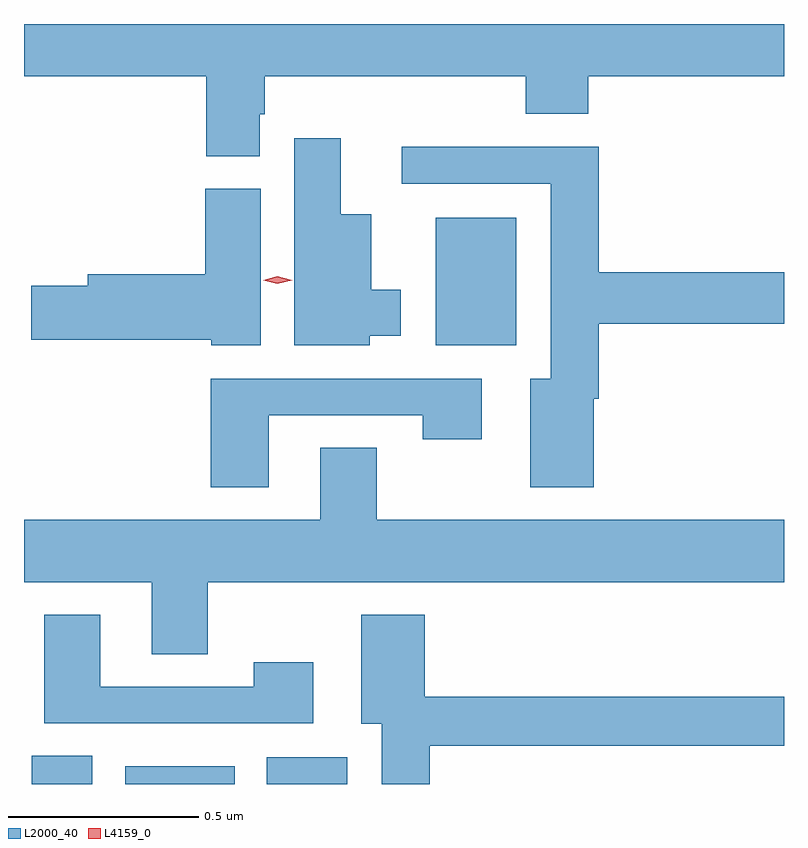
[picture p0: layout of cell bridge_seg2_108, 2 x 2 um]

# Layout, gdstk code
import gdstk
lib = gdstk.Library(unit=1e-6, precision=1e-09)
def R(c, l, rs):  # rectangles x0, y0, x1, y1
    for r in rs: c.add(gdstk.rectangle(r[:2], r[2:], *l))
def P(c, l, *ps):  # polygons
    for p in ps: c.add(gdstk.Polygon(p, *l))
L2000_40 = (2000, 40)
L4159_0 = (4159, 0)

bridge_seg2_108 = lib.new_cell('bridge_seg2_108')
R(bridge_seg2_108, L2000_40, [(557.612,616.469,557.77,616.544), (557.858,616.469,558.145,616.516), (558.23,616.469,558.442,616.54), (558.674,617.624,558.886,617.959)])
P(bridge_seg2_108, L2000_40, [(558.211,618.231),(558.224,618.231),(558.224,618.332),(558.911,618.332),(558.911,618.233),(559.076,618.233),(559.076,618.332),(559.591,618.332),(559.591,618.469),(557.591,618.469),(557.591,618.332),(558.071,618.332),(558.071,618.121),(558.211,618.121)],
  [(558.501,617.648),(558.583,617.648),(558.583,617.77),(558.505,617.77),(558.505,617.968),(558.424,617.968),(558.424,618.169),(558.302,618.169),(558.302,617.624),(558.501,617.624)],
  [(559.09,617.483),(559.103,617.483),(559.103,617.68),(559.591,617.68),(559.591,617.816),(559.103,617.816),(559.103,618.146),(558.585,618.146),(558.585,618.048),(558.977,618.048),(558.977,617.536),(558.923,617.536),(558.923,617.25),(559.09,617.25)],
  [(558.214,618.036),(558.068,618.036),(558.068,617.81),(557.759,617.81),(557.759,617.78),(557.61,617.78),(557.61,617.638),(558.084,617.638),(558.084,617.624),(558.214,617.624)],
  [(558.235,617.439),(558.64,617.439),(558.64,617.376),(558.796,617.376),(558.796,617.535),(558.083,617.535),(558.083,617.25),(558.235,617.25)],
  [(558.075,617),(559.591,617),(559.591,617.164),(558.519,617.164),(558.519,617.354),(558.371,617.354),(558.371,617.164),(557.591,617.164),(557.591,617),(557.927,617),(557.927,616.81),(558.075,616.81)],
  [(558.659,616.57),(559.591,616.57),(559.591,616.699),(558.646,616.699),(558.646,616.915),(558.479,616.915),(558.479,616.628),(558.533,616.628),(558.533,616.469),(558.659,616.469)],
  [(558.352,616.789),(558.196,616.789),(558.196,616.725),(557.791,616.725),(557.791,616.915),(557.644,616.915),(557.644,616.629),(558.352,616.629)])
P(bridge_seg2_108, L4159_0, [(558.258,617.785),(558.22,617.795),(558.22,617.795),(558.22,617.795),(558.258,617.805),(558.297,617.795),(558.297,617.795),(558.297,617.795)])

lib.write_gds('bridge_seg2_108.gds')
